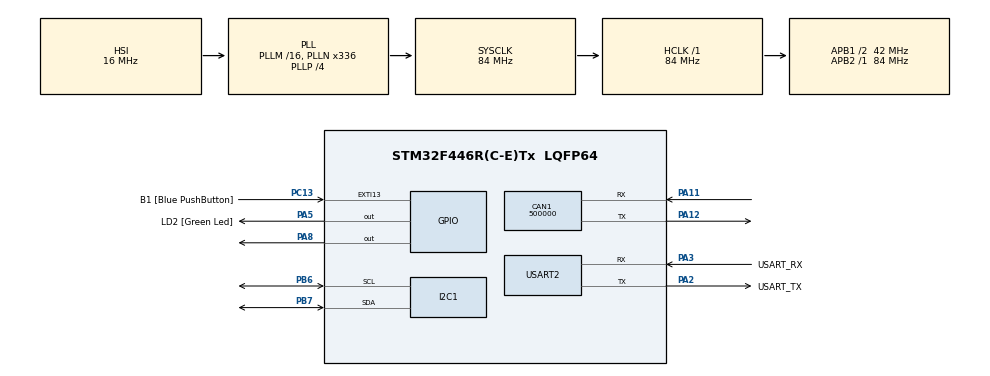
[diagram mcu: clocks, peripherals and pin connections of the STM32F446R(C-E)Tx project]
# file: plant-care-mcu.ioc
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CAN1.CalculateBaudRate=500000
CAN1.CalculateTimeBit=2000
CAN1.CalculateTimeQuantum=142.85714285714286
Mcu.Family=STM32F4
Mcu.Name=STM32F446R(C-E)Tx
Mcu.Package=LQFP64
NVIC.PriorityGroup=NVIC_PRIORITYGROUP_0
PA11.Mode=CAN_Activate
PA11.Signal=CAN1_RX
PA12.Mode=CAN_Activate
PA12.Signal=CAN1_TX
PA13.GPIO_Label=TMS
PA13.Mode=Serial_Wire
PA13.Signal=SYS_JTMS-SWDIO
PA14.GPIO_Label=TCK
PA14.Mode=Serial_Wire
PA14.Signal=SYS_JTCK-SWCLK
PA2.GPIO_Label=USART_TX
PA2.Mode=Asynchronous
PA2.Signal=USART2_TX
PA3.GPIO_Label=USART_RX
PA3.Mode=Asynchronous
PA3.Signal=USART2_RX
PA5.GPIO_Label=LD2 [Green Led]
PA5.Signal=GPIO_Output
PA8.Signal=GPIO_Output
PB3.GPIO_Label=SWO
PB3.Signal=SYS_JTDO-SWO
PB6.Mode=I2C
PB6.Signal=I2C1_SCL
PB7.Mode=I2C
PB7.Signal=I2C1_SDA
PC13.GPIO_Label=B1 [Blue PushButton]
PC13.GPIO_ModeDefaultEXTI=GPIO_MODE_IT_FALLING
PC13.Signal=GPXTI13
PC14-OSC32_IN.Mode=LSE-External-Oscillator
PC14-OSC32_IN.Signal=RCC_OSC32_IN
PC15-OSC32_OUT.Mode=LSE-External-Oscillator
PC15-OSC32_OUT.Signal=RCC_OSC32_OUT
PH0-OSC_IN.Mode=HSE-External-Oscillator
PH0-OSC_IN.Signal=RCC_OSC_IN
PH1-OSC_OUT.Mode=HSE-External-Oscillator
PH1-OSC_OUT.Signal=RCC_OSC_OUT
ProjectManager.HeapSize=0x200
ProjectManager.StackSize=0x400
ProjectManager.TargetToolchain=STM32CubeIDE
RCC.48MHZClocksFreq_Value=84000000
RCC.AHBFreq_Value=84000000
RCC.APB1CLKDivider=RCC_HCLK_DIV2
RCC.APB1Freq_Value=42000000
RCC.APB1TimFreq_Value=84000000
RCC.APB2Freq_Value=84000000
RCC.APB2TimFreq_Value=84000000
RCC.CortexFreq_Value=84000000
RCC.FLatency-AdvancedSettings=FLASH_LATENCY_2
RCC.HCLKFreq_Value=84000000
RCC.HSE_VALUE=8000000
RCC.HSI_VALUE=16000000
RCC.PLLN=336
RCC.PLLP=RCC_PLLP_DIV4
RCC.SYSCLKFreq_VALUE=84000000
RCC.SYSCLKSource=RCC_SYSCLKSOURCE_PLLCLK
RCC.USBFreq_Value=168000000
RCC.VCOOutputFreq_Value=336000000
USART2.VirtualMode=VM_ASYNC
board=NUCLEO-F446RE

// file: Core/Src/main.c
/* USER CODE BEGIN Header */
/**
  ******************************************************************************
  * @file           : main.c
  * @brief          : Main program body
  ******************************************************************************
  * @attention
  *
  * Copyright (c) 2026 STMicroelectronics.
  * All rights reserved.
  *
  * This software is licensed under terms that can be found in the LICENSE file
  * in the root directory of this software component.
  * If no LICENSE file comes with this software, it is provided AS-IS.
  *
  ******************************************************************************
  */
/* USER CODE END Header */
#include "main.h"
#include "can.h"
#include "i2c.h"
#include "usart.h"
#include "gpio.h"

/* USER CODE BEGIN Includes */
#include <stdio.h>
#include "sht31.h"
#include "can_app.h"
/* USER CODE END Includes */

void SystemClock_Config(void);
/* USER CODE BEGIN PFP */
static void PrintBootBanner(HAL_StatusTypeDef recovery_status,
                            HAL_StatusTypeDef probe_44,
                            HAL_StatusTypeDef probe_45);
static void PrintI2cSnapshot(const char *tag);
static void PrintSht31Reading(const SHT31_Data *data);
static void PrintSht31Error(HAL_StatusTypeDef hal_status, uint8_t sensor_status);
static const char *Sht31StatusToString(uint8_t status);
static const char *HalStatusToString(HAL_StatusTypeDef status);
static const char *I2cStateToString(HAL_I2C_StateTypeDef state);
static const char *PinStateToString(GPIO_PinState state);
static long ToCentiUnits(float value);

/* USER CODE END PFP */

/* USER CODE BEGIN 0 */
  int __io_putchar(int ch)
  {
    HAL_UART_Transmit(&huart2, (uint8_t *)&ch, 1, HAL_MAX_DELAY);
    return ch;
  }
/* USER CODE END 0 */

int main(void)
{

  /* MCU Configuration--------------------------------------------------------*/

  /* Reset of all peripherals, Initializes the Flash interface and the Systick. */
  HAL_Init();

  /* Configure the system clock */
  SystemClock_Config();

  /* Initialize all configured peripherals */
  MX_GPIO_Init();
  MX_USART2_UART_Init();
  GPIO_PinState pre_recover_scl = GPIO_PIN_RESET;
  GPIO_PinState pre_recover_sda = GPIO_PIN_RESET;
  HAL_StatusTypeDef recovery_status;
  HAL_StatusTypeDef probe_44;
  HAL_StatusTypeDef probe_45;

  I2C1_GetBusLevels(&pre_recover_scl, &pre_recover_sda);
  recovery_status = I2C1_AttemptBusRecovery();
  MX_CAN1_Init();
  MX_I2C1_Init();
  /* USER CODE BEGIN 2 */
  probe_44 = HAL_I2C_IsDeviceReady(&hi2c1, (0x44U << 1), 2U, 50U);
  probe_45 = HAL_I2C_IsDeviceReady(&hi2c1, (0x45U << 1), 2U, 50U);
  printf("\r\npre-recover bus scl=%s sda=%s\r\n",
         PinStateToString(pre_recover_scl),
         PinStateToString(pre_recover_sda));
  PrintBootBanner(recovery_status, probe_44, probe_45);
  PrintI2cSnapshot("boot");
//  if (CAN_App_Init(&hcan1) != HAL_OK) {
//    Error_Handler();
//  }
  /* USER CODE END 2 */

  /* Infinite loop */
  /* USER CODE BEGIN WHILE */
  uint32_t last_sensor_tick = 0;
  uint32_t last_hb_tick = 0;
  const uint32_t start_tick = HAL_GetTick();
  uint8_t heartbeat_status = 0;

  while (1)
  {
    uint32_t now = HAL_GetTick();

    /* SHT31 poll every 2 s */
    if ((now - last_sensor_tick) >= 2000U) {
      SHT31_Data data = {0};
      HAL_StatusTypeDef sensor_ret;

      last_sensor_tick = now;
      HAL_GPIO_TogglePin(LD2_GPIO_Port, LD2_Pin);

      sensor_ret = SHT31_Read(&hi2c1, &data);
      heartbeat_status = data.status;

      if (sensor_ret == HAL_OK) {
        PrintSht31Reading(&data);
      } else {
        PrintSht31Error(sensor_ret, data.status);
      }
    }

    /* Heartbeat/CAN bring-up is intentionally disabled for sensor-only debug. */
    (void)last_hb_tick;
    (void)start_tick;
    HAL_Delay(50);
    /* USER CODE END WHILE */

  }
}

void SystemClock_Config(void)
{
  RCC_OscInitTypeDef RCC_OscInitStruct = {0};
  RCC_ClkInitTypeDef RCC_ClkInitStruct = {0};

  /** Configure the main internal regulator output voltage
  */
  __HAL_RCC_PWR_CLK_ENABLE();
  __HAL_PWR_VOLTAGESCALING_CONFIG(PWR_REGULATOR_VOLTAGE_SCALE3);

  /** Initializes the RCC Oscillators according to the specified parameters
  * in the RCC_OscInitTypeDef structure.
  */
  RCC_OscInitStruct.OscillatorType = RCC_OSCILLATORTYPE_HSI;
  RCC_OscInitStruct.HSIState = RCC_HSI_ON;
  RCC_OscInitStruct.HSICalibrationValue = RCC_HSICALIBRATION_DEFAULT;
  RCC_OscInitStruct.PLL.PLLState = RCC_PLL_ON;
  RCC_OscInitStruct.PLL.PLLSource = RCC_PLLSOURCE_HSI;
  RCC_OscInitStruct.PLL.PLLM = 16;
  RCC_OscInitStruct.PLL.PLLN = 336;
  RCC_OscInitStruct.PLL.PLLP = RCC_PLLP_DIV4;
  RCC_OscInitStruct.PLL.PLLQ = 2;
  RCC_OscInitStruct.PLL.PLLR = 2;
  if (HAL_RCC_OscConfig(&RCC_OscInitStruct) != HAL_OK)
  {
    Error_Handler();
  }

  /** Initializes the CPU, AHB and APB buses clocks
  */
  RCC_ClkInitStruct.ClockType = RCC_CLOCKTYPE_HCLK|RCC_CLOCKTYPE_SYSCLK
                              |RCC_CLOCKTYPE_PCLK1|RCC_CLOCKTYPE_PCLK2;
  RCC_ClkInitStruct.SYSCLKSource = RCC_SYSCLKSOURCE_PLLCLK;
  RCC_ClkInitStruct.AHBCLKDivider = RCC_SYSCLK_DIV1;
  RCC_ClkInitStruct.APB1CLKDivider = RCC_HCLK_DIV2;
  RCC_ClkInitStruct.APB2CLKDivider = RCC_HCLK_DIV1;

  if (HAL_RCC_ClockConfig(&RCC_ClkInitStruct, FLASH_LATENCY_2) != HAL_OK)
  {
    Error_Handler();
  }
}

/* USER CODE BEGIN 4 */
static void PrintBootBanner(HAL_StatusTypeDef recovery_status,
                            HAL_StatusTypeDef probe_44,
                            HAL_StatusTypeDef probe_45)
{
  printf("\r\n=== plant-care-mcu boot ===\r\n");
  printf("uart=USART2@115200 i2c=I2C1(PB6/PB7) addr_default=0x44 recover=%s probe44=%s probe45=%s\r\n",
         HalStatusToString(recovery_status),
         HalStatusToString(probe_44),
         HalStatusToString(probe_45));
}

static void PrintI2cSnapshot(const char *tag)
{
  GPIO_PinState scl = GPIO_PIN_RESET;
  GPIO_PinState sda = GPIO_PIN_RESET;

  I2C1_GetBusLevels(&scl, &sda);

  printf("i2c %s scl=%s sda=%s state=%s(0x%02X) err=0x%08lX\r\n",
         tag,
         PinStateToString(scl),
         PinStateToString(sda),
         I2cStateToString(HAL_I2C_GetState(&hi2c1)),
         (unsigned int)HAL_I2C_GetState(&hi2c1),
         HAL_I2C_GetError(&hi2c1));
}

static void PrintSht31Reading(const SHT31_Data *data)
{
  long temp_centi = ToCentiUnits(data->temperature);
  long hum_centi = ToCentiUnits(data->humidity);
  long temp_abs = (temp_centi < 0) ? -temp_centi : temp_centi;

  printf("sht31 ok temp=%ld.%02ldC hum=%ld.%02ld%% status=%s\r\n",
         temp_centi / 100L,
         temp_abs % 100L,
         hum_centi / 100L,
         hum_centi % 100L,
         Sht31StatusToString(data->status));
}

static void PrintSht31Error(HAL_StatusTypeDef hal_status, uint8_t sensor_status)
{
  printf("sht31 err hal=%d status=%s\r\n",
         (int)hal_status,
         Sht31StatusToString(sensor_status));
  PrintI2cSnapshot("error");
}

static const char *Sht31StatusToString(uint8_t status)
{
  switch (status) {
    case SHT31_STATUS_OK:
      return "ok";
    case SHT31_STATUS_I2C_TX_ERROR:
      return "i2c_tx";
    case SHT31_STATUS_I2C_RX_ERROR:
      return "i2c_rx";
    case SHT31_STATUS_CRC_ERROR:
      return "crc";
    case SHT31_STATUS_NOT_READY:
      return "not_ready";
    default:
      return "unknown";
  }
}

static const char *HalStatusToString(HAL_StatusTypeDef status)
{
  switch (status) {
    case HAL_OK:
      return "ok";
    case HAL_ERROR:
      return "error";
    case HAL_BUSY:
      return "busy";
    case HAL_TIMEOUT:
      return "timeout";
    default:
      return "unknown";
  }
}

static const char *I2cStateToString(HAL_I2C_StateTypeDef state)
{
  switch (state) {
    case HAL_I2C_STATE_RESET:
      return "reset";
    case HAL_I2C_STATE_READY:
      return "ready";
    case HAL_I2C_STATE_BUSY:
      return "busy";
    case HAL_I2C_STATE_BUSY_TX:
      return "busy_tx";
    case HAL_I2C_STATE_BUSY_RX:
      return "busy_rx";
    case HAL_I2C_STATE_LISTEN:
      return "listen";
    case HAL_I2C_STATE_BUSY_TX_LISTEN:
      return "busy_tx_listen";
    case HAL_I2C_STATE_BUSY_RX_LISTEN:
      return "busy_rx_listen";
    case HAL_I2C_STATE_ABORT:
      return "abort";
    case HAL_I2C_STATE_TIMEOUT:
      return "timeout";
    case HAL_I2C_STATE_ERROR:
      return "error";
    default:
      return "unknown";
  }
}

static const char *PinStateToString(GPIO_PinState state)
{
  return (state == GPIO_PIN_SET) ? "high" : "low";
}

static long ToCentiUnits(float value)
{
  if (value >= 0.0f) {
    return (long)(value * 100.0f + 0.5f);
  }

  return (long)(value * 100.0f - 0.5f);
}

/* USER CODE END 4 */

void Error_Handler(void)
{
  __disable_irq();
  while (1)
  {
  }
}
